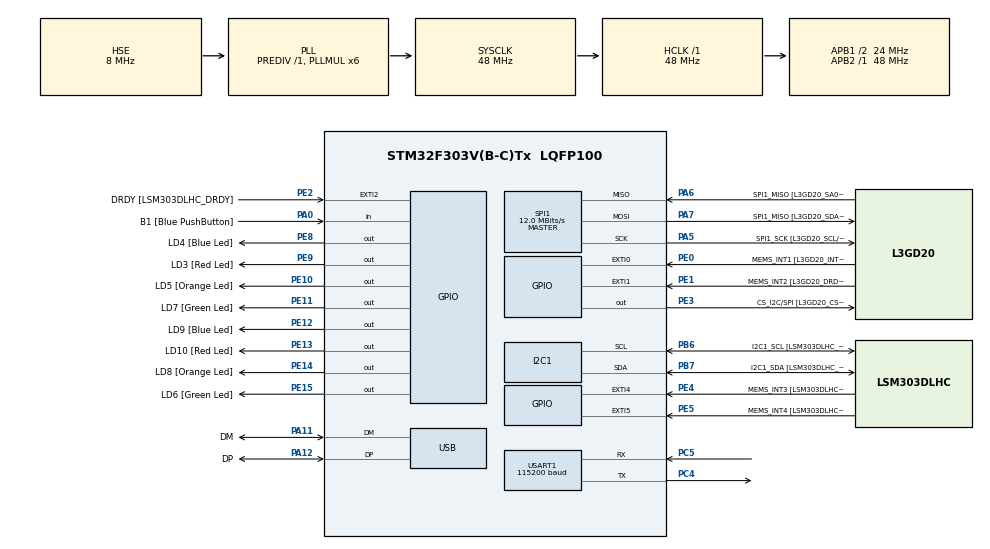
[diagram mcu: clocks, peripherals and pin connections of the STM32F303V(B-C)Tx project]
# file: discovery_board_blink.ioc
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I2C1.Timing=0x00201D2B
I2C1.Timing-I2C=0x2000090E
Mcu.Family=STM32F3
Mcu.Name=STM32F303V(B-C)Tx
Mcu.Package=LQFP100
NVIC.PriorityGroup=NVIC_PRIORITYGROUP_0
PA0.GPIO_Label=B1 [Blue PushButton]
PA0.Signal=GPIO_Input
PA11.GPIO_Label=DM
PA11.Mode=Device
PA11.Signal=USB_DM
PA12.GPIO_Label=DP
PA12.Mode=Device
PA12.Signal=USB_DP
PA13.GPIO_Label=SWDIO
PA13.Mode=Trace_Asynchronous_SW
PA13.Signal=SYS_JTMS-SWDIO
PA14.GPIO_Label=SWCLK
PA14.Mode=Trace_Asynchronous_SW
PA14.Signal=SYS_JTCK-SWCLK
PA5.GPIO_Label=SPI1_SCK [L3GD20_SCL/SPC]
PA5.Mode=Full_Duplex_Master
PA5.Signal=SPI1_SCK
PA6.GPIO_Label=SPI1_MISO [L3GD20_SA0/SDO]
PA6.Mode=Full_Duplex_Master
PA6.Signal=SPI1_MISO
PA7.GPIO_Label=SPI1_MISO [L3GD20_SDA/SDI/SDO]
PA7.Mode=Full_Duplex_Master
PA7.Signal=SPI1_MOSI
PB3.GPIO_Label=SWO
PB3.Mode=Trace_Asynchronous_SW
PB3.Signal=SYS_JTDO-TRACESWO
PB6.GPIO_Label=I2C1_SCL [LSM303DLHC_SCL]
PB6.GPIO_Pu=GPIO_PULLUP
PB6.Mode=I2C
PB6.Signal=I2C1_SCL
PB7.GPIO_Label=I2C1_SDA [LSM303DLHC_SDA]
PB7.GPIO_Pu=GPIO_PULLUP
PB7.Mode=I2C
PB7.Signal=I2C1_SDA
PC14-OSC32_IN.GPIO_Label=OSC32_IN
PC14-OSC32_IN.Signal=RCC_OSC32_IN
PC15-OSC32_OUT.GPIO_Label=OSC32_OUT
PC15-OSC32_OUT.Signal=RCC_OSC32_OUT
PC4.Mode=Asynchronous
PC4.Signal=USART1_TX
PC5.Mode=Asynchronous
PC5.Signal=USART1_RX
PE0.GPIO_Label=MEMS_INT1 [L3GD20_INT1]
PE0.GPIO_ModeDefaultEXTI=GPIO_MODE_EVT_RISING
PE0.Signal=GPXTI0
PE1.GPIO_Label=MEMS_INT2 [L3GD20_DRDY/INT2]
PE1.GPIO_ModeDefaultEXTI=GPIO_MODE_EVT_RISING
PE1.Signal=GPXTI1
PE10.GPIO_Label=LD5 [Orange Led]
PE10.Signal=GPIO_Output
PE11.GPIO_Label=LD7 [Green Led]
PE11.Signal=GPIO_Output
PE12.GPIO_Label=LD9 [Blue Led]
PE12.Signal=GPIO_Output
PE13.GPIO_Label=LD10 [Red Led]
PE13.Signal=GPIO_Output
PE14.GPIO_Label=LD8 [Orange Led]
PE14.Signal=GPIO_Output
PE15.GPIO_Label=LD6 [Green Led]
PE15.Signal=GPIO_Output
PE2.GPIO_Label=DRDY [LSM303DLHC_DRDY]
PE2.GPIO_ModeDefaultEXTI=GPIO_MODE_EVT_RISING
PE2.Signal=GPXTI2
PE3.GPIO_Label=CS_I2C/SPI [L3GD20_CS_I2C/SPI]
PE3.Signal=GPIO_Output
PE4.GPIO_Label=MEMS_INT3 [LSM303DLHC_INT1]
PE4.GPIO_ModeDefaultEXTI=GPIO_MODE_EVT_RISING
PE4.Signal=GPXTI4
PE5.GPIO_Label=MEMS_INT4 [LSM303DLHC_INT2]
PE5.GPIO_ModeDefaultEXTI=GPIO_MODE_EVT_RISING
PE5.Signal=GPXTI5
PE8.GPIO_Label=LD4 [Blue Led]
PE8.Signal=GPIO_Output
PE9.GPIO_Label=LD3 [Red Led]
PE9.Signal=GPIO_Output
PF0-OSC_IN.GPIO_Label=OSC_IN
PF0-OSC_IN.Mode=HSE-External-Clock-Source
PF0-OSC_IN.Signal=RCC_OSC_IN
PF1-OSC_OUT.GPIO_Label=OSC_OUT
PF1-OSC_OUT.Signal=RCC_OSC_OUT
ProjectManager.HeapSize=0x200
ProjectManager.StackSize=0x400
ProjectManager.TargetToolchain=STM32CubeIDE
RCC.AHBFreq_Value=48000000
RCC.APB1CLKDivider=RCC_HCLK_DIV2
RCC.APB1Freq_Value=24000000
RCC.APB1TimFreq_Value=48000000
RCC.APB2Freq_Value=48000000
RCC.APB2TimFreq_Value=48000000
RCC.CortexFreq_Value=48000000
RCC.HCLKFreq_Value=48000000
RCC.HSE_VALUE=8000000
RCC.HSI_VALUE=8000000
RCC.LSE_VALUE=32768
RCC.PLLMUL=RCC_PLL_MUL6
RCC.SYSCLKFreq_VALUE=48000000
RCC.SYSCLKSourceVirtual=RCC_SYSCLKSOURCE_PLLCLK
RCC.USBFreq_Value=48000000
SPI1.BaudRatePrescaler=SPI_BAUDRATEPRESCALER_4
SPI1.BaudRatePrescaler-Full_Duplex_Master=SPI_BAUDRATEPRESCALER_2
SPI1.CalculateBaudRate=12.0 MBits/s
SPI1.CalculateBaudRate-Full_Duplex_Master=24.0 MBits/s
SPI1.Direction=SPI_DIRECTION_2LINES
SPI1.Mode=SPI_MODE_MASTER
SPI1.Mode-Full_Duplex_Master=SPI_MODE_MASTER
SPI1.VirtualType=VM_MASTER
USART1.BaudRate=115200
USART1.VirtualMode-Asynchronous=VM_ASYNC
board=STM32F3DISCOVERY

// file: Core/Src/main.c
/* USER CODE BEGIN Header */
/**
  ******************************************************************************
  * @file           : main.c
  * @brief          : Main program body
  ******************************************************************************
  * @attention
  *
  * Copyright (c) 2025 STMicroelectronics.
  * All rights reserved.
  *
  * This software is licensed under terms that can be found in the LICENSE file
  * in the root directory of this software component.
  * If no LICENSE file comes with this software, it is provided AS-IS.
  *
  ******************************************************************************
  */
/* USER CODE END Header */
#include "main.h"

/* USER CODE BEGIN Includes */
#include <stdio.h>
/* USER CODE END Includes */

I2C_HandleTypeDef hi2c1;

SPI_HandleTypeDef hspi1;

UART_HandleTypeDef huart1;

PCD_HandleTypeDef hpcd_USB_FS;

void SystemClock_Config(void);
static void MX_GPIO_Init(void);
static void MX_I2C1_Init(void);
static void MX_SPI1_Init(void);
static void MX_USB_PCD_Init(void);
static void MX_USART1_UART_Init(void);

/* USER CODE BEGIN 0 */

// Send printf to uart1
int _write(int fd, char* ptr, int len) {
  HAL_StatusTypeDef hstatus;

  if (fd == 1 || fd == 2) {
    hstatus = HAL_UART_Transmit(&huart1, (uint8_t *) ptr, len, HAL_MAX_DELAY);
    if (hstatus == HAL_OK)
      return len;
    else
      return -1;
  }
  return -1;
}

/* USER CODE END 0 */

int main(void)
{

  /* MCU Configuration--------------------------------------------------------*/

  /* Reset of all peripherals, Initializes the Flash interface and the Systick. */
  HAL_Init();

  /* Configure the system clock */
  SystemClock_Config();

  /* Initialize all configured peripherals */
  MX_GPIO_Init();
  MX_I2C1_Init();
  MX_SPI1_Init();
  MX_USB_PCD_Init();
  MX_USART1_UART_Init();
  /* USER CODE BEGIN 2 */

  printf("First application starting\n");

  /* USER CODE END 2 */

  /* Infinite loop */
  /* USER CODE BEGIN WHILE */

  uint32_t now = 0, last_print = 0;

  while (1)
  {
	  now = HAL_GetTick();

	  if ( now - last_print >= 1000) {
		  printf("Loop %lu\n", now);
		  last_print = now;
	  }

    /* USER CODE END WHILE */

  }
}

void SystemClock_Config(void)
{
  RCC_OscInitTypeDef RCC_OscInitStruct = {0};
  RCC_ClkInitTypeDef RCC_ClkInitStruct = {0};
  RCC_PeriphCLKInitTypeDef PeriphClkInit = {0};

  /** Initializes the RCC Oscillators according to the specified parameters
  * in the RCC_OscInitTypeDef structure.
  */
  RCC_OscInitStruct.OscillatorType = RCC_OSCILLATORTYPE_HSI|RCC_OSCILLATORTYPE_HSE;
  RCC_OscInitStruct.HSEState = RCC_HSE_BYPASS;
  RCC_OscInitStruct.HSEPredivValue = RCC_HSE_PREDIV_DIV1;
  RCC_OscInitStruct.HSIState = RCC_HSI_ON;
  RCC_OscInitStruct.HSICalibrationValue = RCC_HSICALIBRATION_DEFAULT;
  RCC_OscInitStruct.PLL.PLLState = RCC_PLL_ON;
  RCC_OscInitStruct.PLL.PLLSource = RCC_PLLSOURCE_HSE;
  RCC_OscInitStruct.PLL.PLLMUL = RCC_PLL_MUL6;
  if (HAL_RCC_OscConfig(&RCC_OscInitStruct) != HAL_OK)
  {
    Error_Handler();
  }

  /** Initializes the CPU, AHB and APB buses clocks
  */
  RCC_ClkInitStruct.ClockType = RCC_CLOCKTYPE_HCLK|RCC_CLOCKTYPE_SYSCLK
                              |RCC_CLOCKTYPE_PCLK1|RCC_CLOCKTYPE_PCLK2;
  RCC_ClkInitStruct.SYSCLKSource = RCC_SYSCLKSOURCE_PLLCLK;
  RCC_ClkInitStruct.AHBCLKDivider = RCC_SYSCLK_DIV1;
  RCC_ClkInitStruct.APB1CLKDivider = RCC_HCLK_DIV2;
  RCC_ClkInitStruct.APB2CLKDivider = RCC_HCLK_DIV1;

  if (HAL_RCC_ClockConfig(&RCC_ClkInitStruct, FLASH_LATENCY_1) != HAL_OK)
  {
    Error_Handler();
  }
  PeriphClkInit.PeriphClockSelection = RCC_PERIPHCLK_USB|RCC_PERIPHCLK_USART1
                              |RCC_PERIPHCLK_I2C1;
  PeriphClkInit.Usart1ClockSelection = RCC_USART1CLKSOURCE_PCLK2;
  PeriphClkInit.I2c1ClockSelection = RCC_I2C1CLKSOURCE_HSI;
  PeriphClkInit.USBClockSelection = RCC_USBCLKSOURCE_PLL;
  if (HAL_RCCEx_PeriphCLKConfig(&PeriphClkInit) != HAL_OK)
  {
    Error_Handler();
  }
}

static void MX_I2C1_Init(void)
{

  hi2c1.Instance = I2C1;
  hi2c1.Init.Timing = 0x00201D2B;
  hi2c1.Init.OwnAddress1 = 0;
  hi2c1.Init.AddressingMode = I2C_ADDRESSINGMODE_7BIT;
  hi2c1.Init.DualAddressMode = I2C_DUALADDRESS_DISABLE;
  hi2c1.Init.OwnAddress2 = 0;
  hi2c1.Init.OwnAddress2Masks = I2C_OA2_NOMASK;
  hi2c1.Init.GeneralCallMode = I2C_GENERALCALL_DISABLE;
  hi2c1.Init.NoStretchMode = I2C_NOSTRETCH_DISABLE;
  if (HAL_I2C_Init(&hi2c1) != HAL_OK)
  {
    Error_Handler();
  }

  /** Configure Analogue filter
  */
  if (HAL_I2CEx_ConfigAnalogFilter(&hi2c1, I2C_ANALOGFILTER_ENABLE) != HAL_OK)
  {
    Error_Handler();
  }

  /** Configure Digital filter
  */
  if (HAL_I2CEx_ConfigDigitalFilter(&hi2c1, 0) != HAL_OK)
  {
    Error_Handler();
  }

}

static void MX_SPI1_Init(void)
{

  /* SPI1 parameter configuration*/
  hspi1.Instance = SPI1;
  hspi1.Init.Mode = SPI_MODE_MASTER;
  hspi1.Init.Direction = SPI_DIRECTION_2LINES;
  hspi1.Init.DataSize = SPI_DATASIZE_4BIT;
  hspi1.Init.CLKPolarity = SPI_POLARITY_LOW;
  hspi1.Init.CLKPhase = SPI_PHASE_1EDGE;
  hspi1.Init.NSS = SPI_NSS_SOFT;
  hspi1.Init.BaudRatePrescaler = SPI_BAUDRATEPRESCALER_4;
  hspi1.Init.FirstBit = SPI_FIRSTBIT_MSB;
  hspi1.Init.TIMode = SPI_TIMODE_DISABLE;
  hspi1.Init.CRCCalculation = SPI_CRCCALCULATION_DISABLE;
  hspi1.Init.CRCPolynomial = 7;
  hspi1.Init.CRCLength = SPI_CRC_LENGTH_DATASIZE;
  hspi1.Init.NSSPMode = SPI_NSS_PULSE_ENABLE;
  if (HAL_SPI_Init(&hspi1) != HAL_OK)
  {
    Error_Handler();
  }

}

static void MX_USART1_UART_Init(void)
{

  huart1.Instance = USART1;
  huart1.Init.BaudRate = 115200;
  huart1.Init.WordLength = UART_WORDLENGTH_8B;
  huart1.Init.StopBits = UART_STOPBITS_1;
  huart1.Init.Parity = UART_PARITY_NONE;
  huart1.Init.Mode = UART_MODE_TX_RX;
  huart1.Init.HwFlowCtl = UART_HWCONTROL_NONE;
  huart1.Init.OverSampling = UART_OVERSAMPLING_16;
  huart1.Init.OneBitSampling = UART_ONE_BIT_SAMPLE_DISABLE;
  huart1.AdvancedInit.AdvFeatureInit = UART_ADVFEATURE_NO_INIT;
  if (HAL_UART_Init(&huart1) != HAL_OK)
  {
    Error_Handler();
  }

}

static void MX_USB_PCD_Init(void)
{

  hpcd_USB_FS.Instance = USB;
  hpcd_USB_FS.Init.dev_endpoints = 8;
  hpcd_USB_FS.Init.speed = PCD_SPEED_FULL;
  hpcd_USB_FS.Init.phy_itface = PCD_PHY_EMBEDDED;
  hpcd_USB_FS.Init.low_power_enable = DISABLE;
  hpcd_USB_FS.Init.battery_charging_enable = DISABLE;
  if (HAL_PCD_Init(&hpcd_USB_FS) != HAL_OK)
  {
    Error_Handler();
  }

}

static void MX_GPIO_Init(void)
{
  GPIO_InitTypeDef GPIO_InitStruct = {0};

  /* GPIO Ports Clock Enable */
  __HAL_RCC_GPIOE_CLK_ENABLE();
  __HAL_RCC_GPIOC_CLK_ENABLE();
  __HAL_RCC_GPIOF_CLK_ENABLE();
  __HAL_RCC_GPIOA_CLK_ENABLE();
  __HAL_RCC_GPIOB_CLK_ENABLE();

  /*Configure GPIO pin Output Level */
  HAL_GPIO_WritePin(GPIOE, CS_I2C_SPI_Pin|LD4_Pin|LD3_Pin|LD5_Pin
                          |LD7_Pin|LD9_Pin|LD10_Pin|LD8_Pin
                          |LD6_Pin, GPIO_PIN_RESET);

  /*Configure GPIO pins : DRDY_Pin MEMS_INT3_Pin MEMS_INT4_Pin MEMS_INT1_Pin
                           MEMS_INT2_Pin */
  GPIO_InitStruct.Pin = DRDY_Pin|MEMS_INT3_Pin|MEMS_INT4_Pin|MEMS_INT1_Pin
                          |MEMS_INT2_Pin;
  GPIO_InitStruct.Mode = GPIO_MODE_EVT_RISING;
  GPIO_InitStruct.Pull = GPIO_NOPULL;
  HAL_GPIO_Init(GPIOE, &GPIO_InitStruct);

  /*Configure GPIO pins : CS_I2C_SPI_Pin LD4_Pin LD3_Pin LD5_Pin
                           LD7_Pin LD9_Pin LD10_Pin LD8_Pin
                           LD6_Pin */
  GPIO_InitStruct.Pin = CS_I2C_SPI_Pin|LD4_Pin|LD3_Pin|LD5_Pin
                          |LD7_Pin|LD9_Pin|LD10_Pin|LD8_Pin
                          |LD6_Pin;
  GPIO_InitStruct.Mode = GPIO_MODE_OUTPUT_PP;
  GPIO_InitStruct.Pull = GPIO_NOPULL;
  GPIO_InitStruct.Speed = GPIO_SPEED_FREQ_LOW;
  HAL_GPIO_Init(GPIOE, &GPIO_InitStruct);

  /*Configure GPIO pin : B1_Pin */
  GPIO_InitStruct.Pin = B1_Pin;
  GPIO_InitStruct.Mode = GPIO_MODE_INPUT;
  GPIO_InitStruct.Pull = GPIO_NOPULL;
  HAL_GPIO_Init(B1_GPIO_Port, &GPIO_InitStruct);

}

void Error_Handler(void)
{
  __disable_irq();
  while (1)
  {
  }
}
